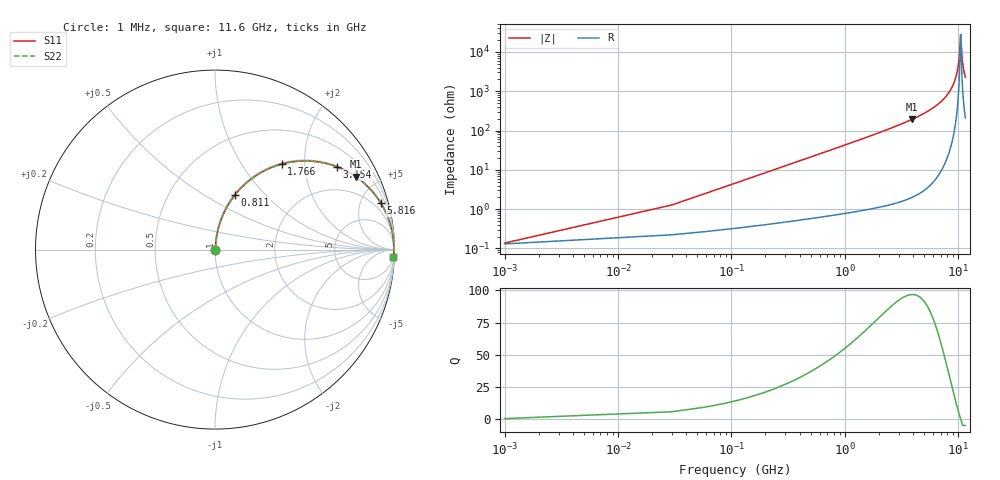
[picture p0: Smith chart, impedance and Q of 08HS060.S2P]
! Coilcraft 0805HS-060 Chip Inductor
! 13 June 2002
# MHZ S MA R 50
!Freq  MagS11  AngS11  MagS21  AngS21  MagS12  AngS12  MagS22  AngS22
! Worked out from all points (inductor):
!   402 points, 1 MHz to 11.6 GHz, reference 50 ohm
!   read as one part in series: L = 6.72 nH near 58.86 MHz
!   highest Q = 96.7 at 3.907 GHz (marker M1), where L = 7.79 nH
!   self-resonance near 10.5 GHz
!   S11 on the Smith chart (normalised r, x): 1 MHz: 1.00, +0.00; 811 MHz: 1.01, +0.69; 1.766 GHz: 1.02, +1.53; 3.154 GHz: 1.03, +2.93; 5.816 GHz: 1.09, +7.07; 11.6 GHz: 5, -45
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1  0.001372 17.9  0.9987 -0.0  0.9987 -0.0  0.001372 17.9
87.79  0.03706 83.2  0.9963 -2.1  0.9963 -2.1  0.03706 83.2
145.65  0.06128 83.1  0.9945 -3.5  0.9945 -3.5  0.06128 83.1
203.51  0.0854 82.4  0.9923 -4.9  0.9923 -4.9  0.0854 82.4
434.95  0.1801 77.9  0.9784 -10.4  0.9784 -10.4  0.1801 77.9
811.04  0.3237 69.9  0.9395 -18.9  0.9395 -18.9  0.3237 69.9
1765.73  0.6048 52.0  0.7883 -37.2  0.7883 -37.2  0.6048 52.0
1939.31  0.6425 49.3  0.758 -40.0  0.758 -40.0  0.6425 49.3
3154.37  0.8215 34.2  0.5614 -55.2  0.5614 -55.2  0.8215 34.2
3877.62  0.8806 27.7  0.4649 -61.7  0.4649 -61.7  0.8806 27.7
3906.55  0.8825 27.5  0.4613 -61.9  0.4613 -61.9  0.8825 27.5
5815.93  0.9591 15.7  0.2714 -73.5  0.2714 -73.5  0.9591 15.7
7754.24  0.9874 7.9  0.138 -80.8  0.138 -80.8  0.9874 7.9
8911.44  0.994 4.3  0.07502 -83.3  0.07502 -83.3  0.994 4.3
9692.55  0.996 2.1  0.03731 -82.7  0.03731 -82.7  0.996 2.1
10155.43  0.9964 0.9  0.01659 -77.0  0.01659 -77.0  0.9964 0.9
10531.52  0.9964 -0.0  0.003593 1.2  0.003593 1.2  0.9964 -0.0
10589.38  0.9964 -0.1  0.004409 34.9  0.004409 34.9  0.9964 -0.1
10791.89  0.9963 -0.6  0.01162 70.9  0.01162 70.9  0.9963 -0.6
10965.47  0.9961 -1.0  0.01855 77.3  0.01855 77.3  0.9961 -1.0
11254.77  0.9957 -1.7  0.03009 80.9  0.03009 80.9  0.9957 -1.7
11600  0.9951 -2.5  0.04357 82.3  0.04357 82.3  0.9951 -2.5
